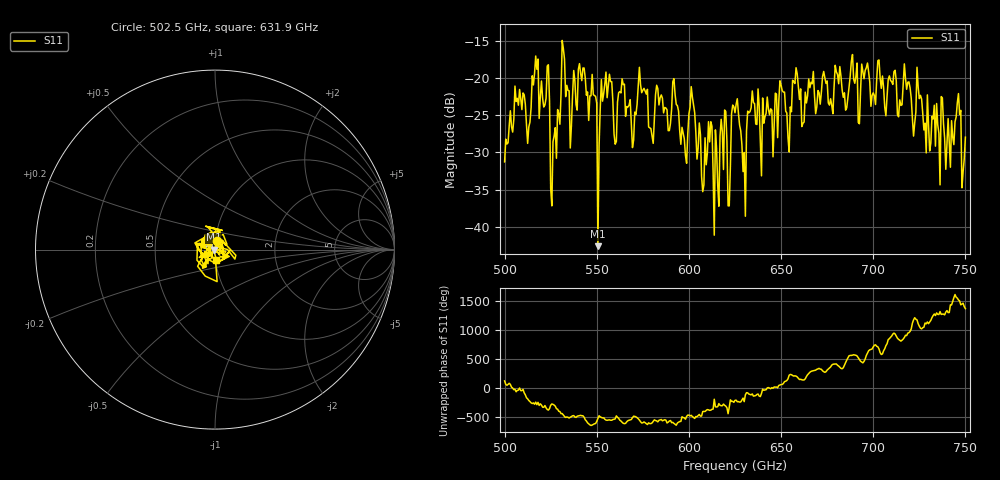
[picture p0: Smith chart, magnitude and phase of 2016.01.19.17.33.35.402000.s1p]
!Created with skrf (http://scikit-rf.org).
# GHz S RI R 50.0
!freq ReS11 ImS11
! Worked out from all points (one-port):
!   401 points, 500 GHz to 750 GHz, reference 50 ohm
!   lowest |S11| = -42.6 dB at 550.6 GHz (marker M1), VSWR 1.01, Z = 49.3 - j0.112 ohm
!   |S11| at or under -10 dB: start of sweep to end of sweep
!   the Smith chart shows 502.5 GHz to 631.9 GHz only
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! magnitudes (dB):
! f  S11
! 500 GHz  -31.3
! 506.9 GHz  -22.7
! 513.1 GHz  -26.6
! 516.9 GHz  -17.0
! 523.1 GHz  -18.4
! 526.2 GHz  -28.6
! 531.2 GHz  -15.0
! 548.8 GHz  -22.4
! 550.6 GHz  -42.6
! 553.8 GHz  -22.1
! 560 GHz  -28.9
! 562.5 GHz  -21.8
! 593.8 GHz  -23.7
! 598.1 GHz  -30.4
! 601.9 GHz  -22.6
! 608.1 GHz  -34.4
! 611.2 GHz  -28.6
! 615 GHz  -29.5
! 618.8 GHz  -32.3
! 621.9 GHz  -37.2
! 625 GHz  -24.7
! 630 GHz  -30.0
! 634.4 GHz  -21.7
! 656.2 GHz  -20.3
! 687.5 GHz  -19.8
! 718.8 GHz  -20.6
! 746.2 GHz  -22.1
! 750 GHz  -28.0
